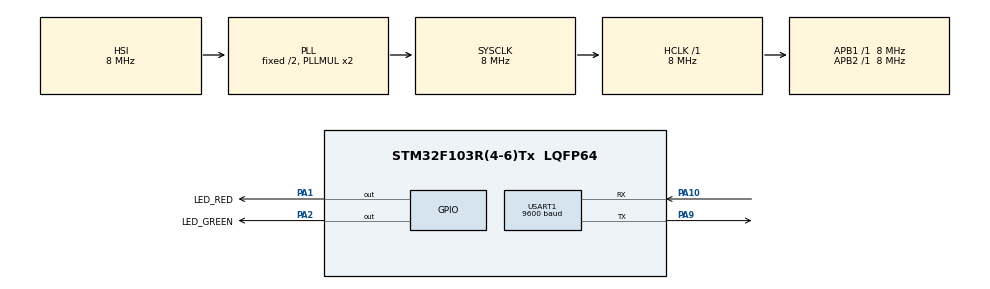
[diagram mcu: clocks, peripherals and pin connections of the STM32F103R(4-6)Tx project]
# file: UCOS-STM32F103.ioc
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Mcu.Family=STM32F1
Mcu.Name=STM32F103R(4-6)Tx
Mcu.Package=LQFP64
NVIC.PriorityGroup=NVIC_PRIORITYGROUP_4
NVIC.TIM1_BRK_IRQn=true\:0\:0\:false\:false\:true\:true\:true
NVIC.TIM1_CC_IRQn=true\:0\:0\:false\:false\:true\:true\:true
NVIC.TIM1_TRG_COM_IRQn=true\:0\:0\:false\:false\:true\:true\:true
NVIC.TIM1_UP_IRQn=true\:0\:0\:false\:false\:true\:true\:true
NVIC.TIM3_IRQn=true\:0\:0\:false\:false\:true\:true\:true
PA1.GPIO_Label=LED_RED
PA1.GPIO_Speed=GPIO_SPEED_FREQ_HIGH
PA1.Signal=GPIO_Output
PA10.Mode=Asynchronous
PA10.Signal=USART1_RX
PA2.GPIO_Label=LED_GREEN
PA2.GPIO_Speed=GPIO_SPEED_FREQ_HIGH
PA2.Signal=GPIO_Output
PA9.Mode=Asynchronous
PA9.Signal=USART1_TX
ProjectManager.HeapSize=0x200
ProjectManager.StackSize=0x400
ProjectManager.TargetToolchain=MDK-ARM V5.27
RCC.AHBFreq_Value=8000000
RCC.APB1Freq_Value=8000000
RCC.APB1TimFreq_Value=8000000
RCC.APB2Freq_Value=8000000
RCC.APB2TimFreq_Value=8000000
RCC.HCLKFreq_Value=8000000
RCC.SYSCLKFreq_VALUE=8000000
RCC.SYSCLKSource=RCC_SYSCLKSOURCE_PLLCLK
RCC.USBFreq_Value=8000000
TIM1.AutoReloadPreload=TIM_AUTORELOAD_PRELOAD_ENABLE
TIM1.Period=100
TIM1.Prescaler=800-1
TIM1.TIM_MasterOutputTrigger=TIM_TRGO_ENABLE
TIM3.Period=1000
TIM3.Prescaler=800-1
USART1.BaudRate=9600
USART1.VirtualMode=VM_ASYNC
VP_SYS_VS_ND.Mode=No_Debug
VP_TIM1_VS_ClockSourceINT.Mode=Internal
VP_TIM1_VS_ClockSourceITR.Mode=TriggerSource_ITR0
VP_TIM1_VS_ControllerModeTrigger.Mode=Trigger Mode
VP_TIM3_VS_ClockSourceINT.Mode=Internal
VP_TIM3_VS_ClockSourceITR.Mode=TriggerSource_ITR1
VP_TIM3_VS_ControllerModeTrigger.Mode=Trigger Mode
board=custom

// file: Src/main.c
/* USER CODE BEGIN Header */
/**
  ******************************************************************************
  * @file           : main.c
  * @brief          : Main program body
  ******************************************************************************
  * @attention
  *
  * <h2><center>&copy; Copyright (c) 2020 STMicroelectronics.
  * All rights reserved.</center></h2>
  *
  * This software component is licensed by ST under BSD 3-Clause license,
  * the "License"; You may not use this file except in compliance with the
  * License. You may obtain a copy of the License at:
  *                        opensource.org/licenses/BSD-3-Clause
  *
  ******************************************************************************
  */
/* USER CODE END Header */

#include "main.h"

/* USER CODE BEGIN PD */

uint8_t Txbuf[100];
uint8_t Rxbuf[100];
uint8_t temp8;
uint16_t temp16;
/* USER CODE END PD */

TIM_HandleTypeDef htim1;
TIM_HandleTypeDef htim3;

UART_HandleTypeDef huart1;

void SystemClock_Config(void);
static void MX_GPIO_Init(void);
static void MX_USART1_UART_Init(void);
static void MX_TIM1_Init(void);
static void MX_TIM3_Init(void);

/* USER CODE BEGIN 0 */

void PrintChar(uint8_t * Char)
{
  HAL_UART_Transmit(&huart1, Char ,strlen((const char *)Char) , 1000);
}
uint8_t printBuf[20];

uint8_t * hex2str(unsigned char *inchar, unsigned int len)
{
    unsigned char hbit,lbit;
    unsigned int i;
    for(i=0;i<len;i++)
    {
      hbit = (*(inchar+i)&0xf0)>>4;
      lbit = *(inchar+i)&0x0f;
      if (hbit>9) printBuf[2*i]='A'+hbit-10;
      else printBuf[2*i]='0'+hbit;
      if (lbit>9) printBuf[2*i+1]='A'+lbit-10;
      else    printBuf[2*i+1]='0'+lbit;
    }
    printBuf[2*i] = 0;
    return printBuf;
}
void PrintHex(unsigned char *inchar, unsigned int len)
{
  PrintChar(hex2str(inchar, len));
}

void getChar(uint8_t * Char)
{
  PrintChar("Please input a char:");
  if(HAL_UART_Receive(&huart1, Rxbuf, 1, 10000)==HAL_OK)
  {
    *Char=Rxbuf[0];
    PrintChar(Char);
  }
  else
  {
    PrintChar("Receive failed!     ");
  }
}

void delay(int ms)
{
  int i;
  int j;
   for(i=0;i<ms;i++)
  {
    for(j=0;j<1000;j++)
      ;
  }
}
void HAL_TIM_PeriodElapsedCallback(TIM_HandleTypeDef *htim)
{
    if (htim->Instance == htim3.Instance)
    {
        /* Toggle LED */

      PrintChar("4");
      FlipPin(LED_RED_GPIO_Port,LED_RED_Pin);
    }
      PrintChar("5");
}

/* USER CODE END 0 */

int main(void)
{

  /* MCU Configuration--------------------------------------------------------*/

  /* Reset of all peripherals, Initializes the Flash interface and the Systick. */
  HAL_Init();

  /* Configure the system clock */
  SystemClock_Config();

  /* Initialize all configured peripherals */
  MX_GPIO_Init();
  MX_USART1_UART_Init();
  MX_TIM1_Init();
  MX_TIM3_Init();

  /* Infinite loop */
  /* USER CODE BEGIN WHILE */
  __HAL_RCC_TIM3_CLK_ENABLE();
  HAL_TIM_Base_Start_IT(&htim3);
  while (1)
  {
    /* USER CODE END WHILE */

    /* USER CODE BEGIN 3 */
    FlipPin(LED_GREEN_GPIO_Port,LED_GREEN_Pin);
    PrintChar("123");
    delay(1000);
//    HAL_UART_Transmit(&huart1, &temp8 ,1 , 1000);
  }
  /* USER CODE END 3 */
}

void SystemClock_Config(void)
{
  RCC_OscInitTypeDef RCC_OscInitStruct = {0};
  RCC_ClkInitTypeDef RCC_ClkInitStruct = {0};

  /** Initializes the CPU, AHB and APB busses clocks
  */
  RCC_OscInitStruct.OscillatorType = RCC_OSCILLATORTYPE_HSI;
  RCC_OscInitStruct.HSIState = RCC_HSI_ON;
  RCC_OscInitStruct.HSICalibrationValue = RCC_HSICALIBRATION_DEFAULT;
  RCC_OscInitStruct.PLL.PLLState = RCC_PLL_ON;
  RCC_OscInitStruct.PLL.PLLSource = RCC_PLLSOURCE_HSI_DIV2;
  RCC_OscInitStruct.PLL.PLLMUL = RCC_PLL_MUL2;
  if (HAL_RCC_OscConfig(&RCC_OscInitStruct) != HAL_OK)
  {
    Error_Handler();
  }
  /** Initializes the CPU, AHB and APB busses clocks
  */
  RCC_ClkInitStruct.ClockType = RCC_CLOCKTYPE_HCLK|RCC_CLOCKTYPE_SYSCLK
                              |RCC_CLOCKTYPE_PCLK1|RCC_CLOCKTYPE_PCLK2;
  RCC_ClkInitStruct.SYSCLKSource = RCC_SYSCLKSOURCE_PLLCLK;
  RCC_ClkInitStruct.AHBCLKDivider = RCC_SYSCLK_DIV1;
  RCC_ClkInitStruct.APB1CLKDivider = RCC_HCLK_DIV1;
  RCC_ClkInitStruct.APB2CLKDivider = RCC_HCLK_DIV1;

  if (HAL_RCC_ClockConfig(&RCC_ClkInitStruct, FLASH_LATENCY_0) != HAL_OK)
  {
    Error_Handler();
  }
}

static void MX_TIM1_Init(void)
{

  TIM_ClockConfigTypeDef sClockSourceConfig = {0};
  TIM_SlaveConfigTypeDef sSlaveConfig = {0};
  TIM_MasterConfigTypeDef sMasterConfig = {0};

  htim1.Instance = TIM1;
  htim1.Init.Prescaler = 800-1;
  htim1.Init.CounterMode = TIM_COUNTERMODE_UP;
  htim1.Init.Period = 100;
  htim1.Init.ClockDivision = TIM_CLOCKDIVISION_DIV1;
  htim1.Init.RepetitionCounter = 0;
  htim1.Init.AutoReloadPreload = TIM_AUTORELOAD_PRELOAD_ENABLE;
  if (HAL_TIM_Base_Init(&htim1) != HAL_OK)
  {
    Error_Handler();
  }
  sClockSourceConfig.ClockSource = TIM_CLOCKSOURCE_INTERNAL;
  if (HAL_TIM_ConfigClockSource(&htim1, &sClockSourceConfig) != HAL_OK)
  {
    Error_Handler();
  }
  sSlaveConfig.SlaveMode = TIM_SLAVEMODE_TRIGGER;
  sSlaveConfig.InputTrigger = TIM_TS_ITR0;
  if (HAL_TIM_SlaveConfigSynchro(&htim1, &sSlaveConfig) != HAL_OK)
  {
    Error_Handler();
  }
  sMasterConfig.MasterOutputTrigger = TIM_TRGO_ENABLE;
  sMasterConfig.MasterSlaveMode = TIM_MASTERSLAVEMODE_DISABLE;
  if (HAL_TIMEx_MasterConfigSynchronization(&htim1, &sMasterConfig) != HAL_OK)
  {
    Error_Handler();
  }

}

static void MX_TIM3_Init(void)
{

  TIM_ClockConfigTypeDef sClockSourceConfig = {0};
  TIM_SlaveConfigTypeDef sSlaveConfig = {0};
  TIM_MasterConfigTypeDef sMasterConfig = {0};

  htim3.Instance = TIM3;
  htim3.Init.Prescaler = 7;
  htim3.Init.CounterMode = TIM_COUNTERMODE_UP;
  htim3.Init.Period = 1000;
  htim3.Init.ClockDivision = TIM_CLOCKDIVISION_DIV1;
  htim3.Init.AutoReloadPreload = TIM_AUTORELOAD_PRELOAD_ENABLE;
  if (HAL_TIM_Base_Init(&htim3) != HAL_OK)
  {
    Error_Handler();
  }
  sClockSourceConfig.ClockSource = TIM_CLOCKSOURCE_INTERNAL;
  if (HAL_TIM_ConfigClockSource(&htim3, &sClockSourceConfig) != HAL_OK)
  {
    Error_Handler();
  }
  sSlaveConfig.SlaveMode = TIM_SLAVEMODE_TRIGGER;
  sSlaveConfig.InputTrigger = TIM_TS_ITR1;
  if (HAL_TIM_SlaveConfigSynchro(&htim3, &sSlaveConfig) != HAL_OK)
  {
    Error_Handler();
  }
  sMasterConfig.MasterOutputTrigger = TIM_TRGO_RESET;
  sMasterConfig.MasterSlaveMode = TIM_MASTERSLAVEMODE_DISABLE;
  if (HAL_TIMEx_MasterConfigSynchronization(&htim3, &sMasterConfig) != HAL_OK)
  {
    Error_Handler();
  }

}

static void MX_USART1_UART_Init(void)
{

  huart1.Instance = USART1;
  huart1.Init.BaudRate = 9600;
  huart1.Init.WordLength = UART_WORDLENGTH_8B;
  huart1.Init.StopBits = UART_STOPBITS_1;
  huart1.Init.Parity = UART_PARITY_NONE;
  huart1.Init.Mode = UART_MODE_TX_RX;
  huart1.Init.HwFlowCtl = UART_HWCONTROL_NONE;
  huart1.Init.OverSampling = UART_OVERSAMPLING_16;
  if (HAL_UART_Init(&huart1) != HAL_OK)
  {
    Error_Handler();
  }

}

static void MX_GPIO_Init(void)
{
  GPIO_InitTypeDef GPIO_InitStruct = {0};

  /* GPIO Ports Clock Enable */
  __HAL_RCC_GPIOA_CLK_ENABLE();

  /*Configure GPIO pin Output Level */
  HAL_GPIO_WritePin(GPIOA, LED_RED_Pin|LED_GREEN_Pin, GPIO_PIN_RESET);

  /*Configure GPIO pins : LED_RED_Pin LED_GREEN_Pin */
  GPIO_InitStruct.Pin = LED_RED_Pin|LED_GREEN_Pin;
  GPIO_InitStruct.Mode = GPIO_MODE_OUTPUT_PP;
  GPIO_InitStruct.Pull = GPIO_NOPULL;
  GPIO_InitStruct.Speed = GPIO_SPEED_FREQ_HIGH;
  HAL_GPIO_Init(GPIOA, &GPIO_InitStruct);

}

void Error_Handler(void)
{
}

/************************ (C) COPYRIGHT STMicroelectronics *****END OF FILE****/
